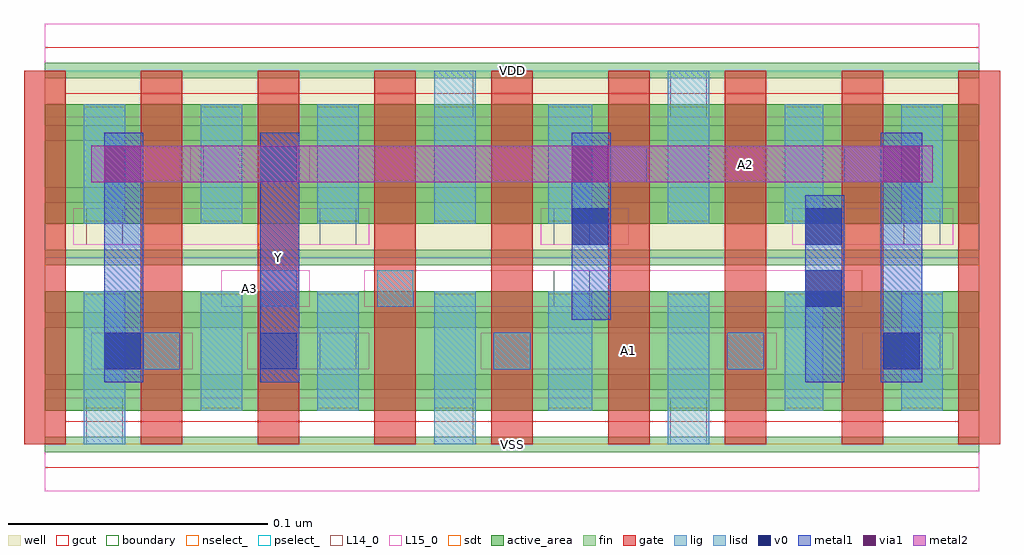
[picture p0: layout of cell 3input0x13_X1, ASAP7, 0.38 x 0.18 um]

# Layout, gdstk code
import gdstk
lib = gdstk.Library(unit=1e-6, precision=1e-09)
def R(c, l, rs):  # rectangles x0, y0, x1, y1
    for r in rs: c.add(gdstk.rectangle(r[:2], r[2:], *l))
def A(c, l, x, y, w, h, nx, ny, dx, dy):  # array of equal rectangles
    R(c, l, [(x+i*dx, y+j*dy, x+i*dx+w, y+j*dy+h) for i in range(nx) for j in range(ny)])
def P(c, l, *ps):  # polygons
    for p in ps: c.add(gdstk.Polygon(p, *l))
well = (1, 0)
fin = (2, 0)
gate = (7, 0)
gcut = (10, 0)
active_area = (11, 0)
nselect_ = (12, 0)
pselect_ = (13, 0)
L14_0 = (14, 0)
L15_0 = (15, 0)
lig = (16, 0)
lisd = (17, 0)
v0 = (18, 0)
metal1 = (19, 0)
metal2 = (20, 0)
via1 = (21, 0)
sdt = (88, 0)
boundary = (100, 0)

c_3input0x13_x1 = lib.new_cell('3input0x13_X1')
R(c_3input0x13_x1, well, [(0,0.072,0.36,0.144)])
A(c_3input0x13_x1, fin, 0, -0.003, 0.36, 0.006, 1, 7, 0, 0.024)
A(c_3input0x13_x1, gate, -0.008, 0, 0.016, 0.144, 9, 1, 0.045, 0)
P(c_3input0x13_x1, gcut, [(0,-0.009),(0,0),(-0.008,0),(-0.008,0.135),(0.008,0.135),(0.008,0.009),(0.352,0.009),(0.352,0.135),(-0.008,0.135),(-0.008,0.144),(0,0.144),(0,0.153),(0.36,0.153),(0.36,0.144),(0.368,0.144),(0.368,0),(0.36,0),(0.36,-0.009)])
R(c_3input0x13_x1, active_area, [(0,0.013,0.36,0.059), (0,0.085,0.36,0.131)])
R(c_3input0x13_x1, nselect_, [(0,0,0.36,0.072)])
R(c_3input0x13_x1, pselect_, [(0,0.072,0.36,0.144)])
A(c_3input0x13_x1, L14_0, 0.016, 0.077, 0.014, 0.014, 3, 1, 0.09, 0)
R(c_3input0x13_x1, L14_0, [(0.016,0,0.03,0.018), (0.15,0,0.165,0.018), (0.241,0,0.255,0.018), (0.038,0.029,0.052,0.043), (0.106,0.029,0.12,0.043), (0.173,0.029,0.187,0.043), (0.263,0.029,0.277,0.043), (0.331,0.029,0.345,0.043), (0.083,0.053,0.097,0.067), (0.128,0.053,0.142,0.067), (0.196,0.053,0.21,0.067), (0.331,0.077,0.345,0.091), (0.061,0.101,0.075,0.115), (0.218,0.101,0.232,0.115), (0.308,0.101,0.322,0.115), (0.15,0.126,0.165,0.144), (0.241,0.126,0.255,0.144)])
R(c_3input0x13_x1, L15_0, [(0,-0.018,0.36,0.018), (0.018,0.029,0.057,0.043), (0.078,0.029,0.125,0.043), (0.168,0.029,0.282,0.043), (0.315,0.029,0.35,0.043), (0.068,0.053,0.102,0.067), (0.123,0.053,0.315,0.067), (0.011,0.077,0.125,0.091), (0.191,0.077,0.225,0.091), (0.288,0.077,0.35,0.091), (0.056,0.101,0.102,0.115), (0.213,0.101,0.327,0.115), (0,0.126,0.36,0.162)])
R(c_3input0x13_x1, lig, [(0.038,0.029,0.052,0.043), (0.173,0.029,0.187,0.043), (0.263,0.029,0.277,0.043), (0.083,0.053,0.097,0.067), (0.128,0.053,0.142,0.067), (0.218,0.101,0.232,0.115), (0.308,0.101,0.322,0.115)])
A(c_3input0x13_x1, lisd, 0.015, 0.085, 0.016, 0.046, 3, 1, 0.045, 0)
R(c_3input0x13_x1, lisd, [(0.015,0,0.031,0.059), (0.15,0,0.166,0.059), (0.24,0,0.256,0.059), (0.06,0.013,0.076,0.059), (0.105,0.013,0.121,0.059), (0.194,0.013,0.211,0.059), (0.285,0.013,0.3,0.059), (0.33,0.013,0.346,0.059), (0.15,0.085,0.166,0.144), (0.194,0.085,0.211,0.131), (0.24,0.085,0.256,0.144), (0.285,0.085,0.3,0.131), (0.33,0.085,0.346,0.131)])
R(c_3input0x13_x1, v0, [(0.023,0.029,0.037,0.043), (0.083,0.029,0.097,0.043), (0.323,0.029,0.337,0.043), (0.293,0.053,0.307,0.067), (0.203,0.077,0.217,0.091), (0.293,0.077,0.307,0.091), (0.083,0.101,0.097,0.115)])
R(c_3input0x13_x1, metal1, [(0.023,0.024,0.038,0.12), (0.083,0.024,0.098,0.12), (0.293,0.024,0.308,0.096), (0.322,0.024,0.338,0.12), (0.203,0.048,0.218,0.12)])
R(c_3input0x13_x1, metal2, [(0.018,0.101,0.342,0.115)])
R(c_3input0x13_x1, via1, [(0.023,0.101,0.037,0.115), (0.203,0.101,0.217,0.115), (0.323,0.101,0.337,0.115)])
A(c_3input0x13_x1, sdt, 0.015, 0.014, 0.016, 0.044, 4, 2, 0.045, 0.072)
R(c_3input0x13_x1, sdt, [(0.194,0.014,0.211,0.058), (0.24,0.014,0.256,0.058), (0.285,0.014,0.3,0.058), (0.33,0.014,0.346,0.058), (0.194,0.086,0.211,0.13), (0.24,0.086,0.256,0.13), (0.285,0.086,0.3,0.13), (0.33,0.086,0.346,0.13)])
R(c_3input0x13_x1, boundary, [(0,0,0.36,0.144)])
c_3input0x13_x1.add(gdstk.Label('A1', (0.225,0.036), layer=15, texttype=251))
c_3input0x13_x1.add(gdstk.Label('VSS', (0.18,0), layer=15, texttype=251))
c_3input0x13_x1.add(gdstk.Label('VDD', (0.18,0.144), layer=15, texttype=251))
c_3input0x13_x1.add(gdstk.Label('A2', (0.27,0.108), layer=15, texttype=251))
c_3input0x13_x1.add(gdstk.Label('VSS', (0.18,0), layer=15, texttype=251))
c_3input0x13_x1.add(gdstk.Label('VDD', (0.18,0.144), layer=15, texttype=251))
c_3input0x13_x1.add(gdstk.Label('VSS', (0.18,0), layer=15, texttype=251))
c_3input0x13_x1.add(gdstk.Label('VDD', (0.18,0.144), layer=15, texttype=251))
c_3input0x13_x1.add(gdstk.Label('A3', (0.079,0.06), layer=15, texttype=251))
c_3input0x13_x1.add(gdstk.Label('VSS', (0.18,0), layer=15, texttype=251))
c_3input0x13_x1.add(gdstk.Label('VDD', (0.18,0.144), layer=15, texttype=251))
c_3input0x13_x1.add(gdstk.Label('VSS', (0.18,0), layer=3, texttype=251))
c_3input0x13_x1.add(gdstk.Label('VSS', (0.18,0), layer=3, texttype=251))
c_3input0x13_x1.add(gdstk.Label('VSS', (0.18,0), layer=3, texttype=251))
c_3input0x13_x1.add(gdstk.Label('VSS', (0.18,0), layer=3, texttype=251))
c_3input0x13_x1.add(gdstk.Label('VDD', (0.18,0.144), layer=1, texttype=251))
c_3input0x13_x1.add(gdstk.Label('VDD', (0.18,0.144), layer=1, texttype=251))
c_3input0x13_x1.add(gdstk.Label('VDD', (0.18,0.144), layer=1, texttype=251))
c_3input0x13_x1.add(gdstk.Label('VDD', (0.18,0.144), layer=1, texttype=251))
c_3input0x13_x1.add(gdstk.Label('Y', (0.09,0.072), layer=19, texttype=251))

lib.write_gds('3input0x13_X1.gds')
